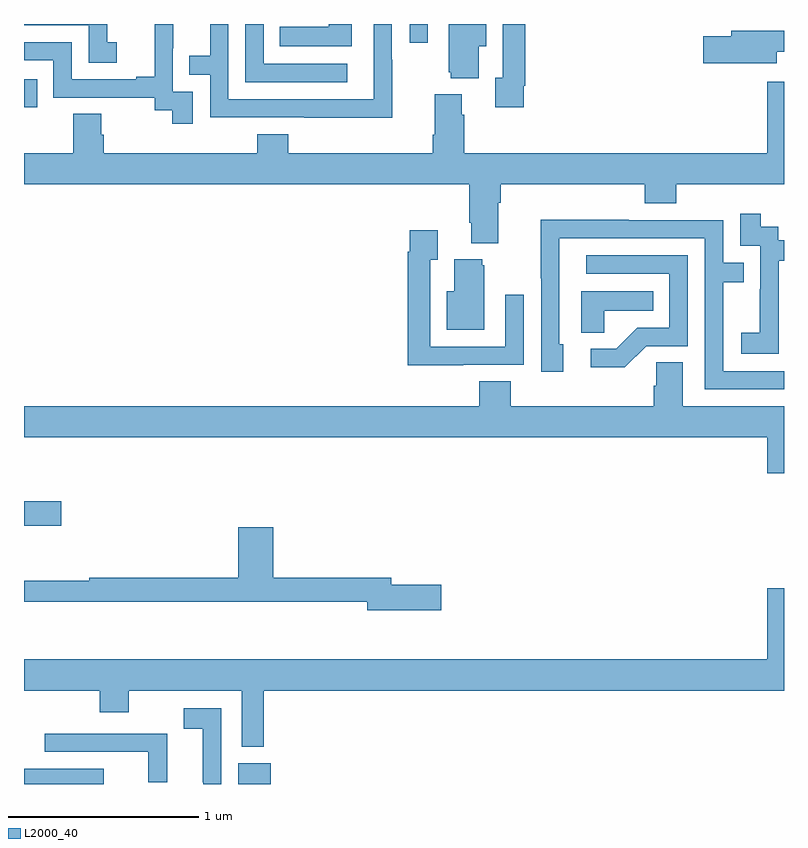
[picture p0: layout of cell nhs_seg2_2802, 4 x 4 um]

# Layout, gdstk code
import gdstk
lib = gdstk.Library(unit=1e-6, precision=1e-09)
def R(c, l, rs):  # rectangles x0, y0, x1, y1
    for r in rs: c.add(gdstk.rectangle(r[:2], r[2:], *l))
def P(c, l, *ps):  # polygons
    for p in ps: c.add(gdstk.Polygon(p, *l))
L2000_40 = (2000, 40)

nhs_seg2_2802 = lib.new_cell('nhs_seg2_2802')
R(nhs_seg2_2802, L2000_40, [(257,657.8,257.419,657.88), (258.128,657.8,258.298,657.91), (257,659.159,257.197,659.289), (257,661.362,257.069,661.509), (259.029,661.701,259.125,661.8)])
P(nhs_seg2_2802, L2000_40, [(258.724,661.8),(258.603,661.8),(258.603,661.786),(258.346,661.786),(258.346,661.682),(258.724,661.682)],
  [(259.63,661.474),(259.637,661.474),(259.637,661.8),(259.521,661.8),(259.521,661.518),(259.481,661.518),(259.481,661.362),(259.63,661.362)],
  [(259.393,661.682),(259.432,661.682),(259.432,661.8),(259.235,661.8),(259.235,661.545),(259.247,661.545),(259.247,661.514),(259.393,661.514)],
  [(257.488,661.705),(257.439,661.705),(257.439,661.8),(257,661.8),(257,661.794),(257.34,661.794),(257.34,661.596),(257.488,661.596)],
  [(258.7,661.59),(258.261,661.59),(258.261,661.8),(258.165,661.8),(258.165,661.494),(258.7,661.494)],
  [(258.939,661.613),(258.936,661.613),(258.936,661.8),(258.84,661.8),(258.84,661.404),(258.075,661.404),(258.075,661.8),(257.979,661.8),(257.979,661.634),(257.869,661.634),(257.869,661.533),(257.979,661.533),(257.979,661.308),(258.475,661.308),(258.475,661.307),(258.939,661.307)],
  [(257.889,661.443),(257.784,661.443),(257.784,661.673),(257.786,661.673),(257.786,661.8),(257.687,661.8),(257.687,661.522),(257.591,661.522),(257.591,661.509),(257.25,661.509),(257.25,661.704),(257,661.704),(257,661.608),(257.154,661.608),(257.154,661.413),(257.688,661.413),(257.688,661.345),(257.781,661.345),(257.781,661.275),(257.889,661.275)],
  [(260.962,661.655),(261,661.655),(261,661.765),(260.723,661.765),(260.723,661.736),(260.574,661.736),(260.574,661.594),(260.962,661.594)],
  [(259.495,660.86),(259.508,660.86),(259.508,660.956),(260.267,660.956),(260.267,660.857),(260.432,660.857),(260.432,660.956),(261,660.956),(261,661.495),(260.912,661.495),(260.912,661.12),(259.316,661.12),(259.316,661.322),(259.303,661.322),(259.303,661.429),(259.163,661.429),(259.163,661.216),(259.151,661.216),(259.151,661.12),(258.392,661.12),(258.392,661.219),(258.227,661.219),(258.227,661.12),(257.42,661.12),(257.42,661.218),(257.407,661.218),(257.407,661.328),(257.26,661.328),(257.26,661.12),(257,661.12),(257,660.956),(259.343,660.956),(259.343,660.754),(259.355,660.754),(259.355,660.647),(259.495,660.647)],
  [(260.973,660.271),(260.972,660.271),(260.972,660.555),(261,660.555),(261,660.663),(260.97,660.663),(260.97,660.732),(260.878,660.732),(260.878,660.802),(260.769,660.802),(260.769,660.633),(260.874,660.633),(260.874,660.404),(260.873,660.404),(260.873,660.175),(260.775,660.175),(260.775,660.065),(260.973,660.065)],
  [(261,659.973),(260.679,659.973),(260.679,660.442),(260.789,660.442),(260.789,660.543),(260.679,660.543),(260.679,660.768),(260.183,660.768),(260.183,660.77),(259.72,660.77),(259.72,660.463),(259.722,660.463),(259.722,659.97),(259.837,659.97),(259.837,660.114),(259.818,660.114),(259.818,660.672),(260.583,660.672),(260.583,659.877),(261,659.877)],
  [(259.313,660.006),(259.629,660.006),(259.629,660.376),(259.533,660.376),(259.533,660.102),(259.137,660.102),(259.137,660.559),(259.177,660.559),(259.177,660.715),(259.029,660.715),(259.029,660.602),(259.021,660.602),(259.021,660.005),(259.313,660.005)],
  [(260.274,660.105),(260.493,660.105),(260.493,660.582),(259.959,660.582),(259.959,660.486),(260.397,660.486),(260.397,660.201),(260.228,660.201),(260.117,660.09),(259.983,660.09),(259.983,659.993),(260.161,659.993)],
  [(259.423,660.531),(259.412,660.531),(259.412,660.562),(259.265,660.562),(259.265,660.394),(259.226,660.394),(259.226,660.191),(259.423,660.191)],
  [(260.055,660.29),(260.312,660.29),(260.312,660.394),(259.934,660.394),(259.934,660.175),(260.055,660.175)],
  [(261,659.788),(260.467,659.788),(260.467,660.02),(260.328,660.02),(260.328,659.897),(260.315,659.897),(260.315,659.788),(259.562,659.788),(259.562,659.921),(259.397,659.921),(259.397,659.788),(257,659.788),(257,659.624),(260.912,659.624),(260.912,659.436),(261,659.436)],
  [(259.195,658.85),(258.934,658.85),(258.934,658.886),(258.311,658.886),(258.311,659.152),(258.128,659.152),(258.128,658.886),(257.344,658.886),(257.344,658.871),(257,658.871),(257,658.758),(258.806,658.758),(258.806,658.715),(259.195,658.715)],
  [(258.263,658.292),(261,658.292),(261,658.831),(260.912,658.831),(260.912,658.456),(257,658.456),(257,658.292),(257.399,658.292),(257.399,658.178),(257.551,658.178),(257.551,658.292),(258.147,658.292),(258.147,657.995),(258.263,657.995)],
  [(258.039,658.2),(257.841,658.2),(257.841,658.092),(257.942,658.092),(257.942,657.808),(257.943,657.808),(257.943,657.8),(258.039,657.8)],
  [(257.753,658.065),(257.109,658.065),(257.109,657.969),(257.653,657.969),(257.653,657.81),(257.753,657.81)])

lib.write_gds('nhs_seg2_2802.gds')
